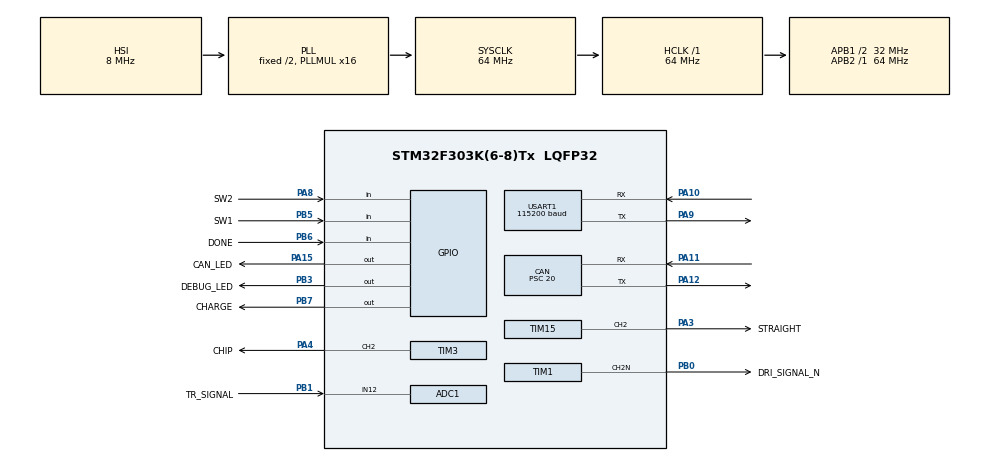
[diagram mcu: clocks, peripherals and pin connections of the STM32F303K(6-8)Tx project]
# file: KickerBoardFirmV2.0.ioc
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ADC1.Channel-1\#ChannelRegularConversion=ADC_CHANNEL_12
ADC1.NbrOfConversionFlag=1
ADC1.Offset-1\#ChannelRegularConversion=0
ADC1.OffsetNumber-1\#ChannelRegularConversion=ADC_OFFSET_NONE
ADC1.Rank-1\#ChannelRegularConversion=1
ADC1.SamplingTime-1\#ChannelRegularConversion=ADC_SAMPLETIME_19CYCLES_5
ADC1.SamplingTimeOPAMP-1\#ChannelRegularConversion=ADC_SAMPLETIME_61CYCLES_5
ADC1.SubFamily=STM32F303x8
ADC1.master=1
CAN.BS1=CAN_BS1_13TQ
CAN.BS2=CAN_BS2_2TQ
CAN.CalculateBaudRate=100000
CAN.CalculateTimeBit=10000
CAN.CalculateTimeQuantum=625.0
CAN.Prescaler=20
Dma.Request0=USART1_TX
Dma.Request1=USART1_RX
Dma.USART1_RX.1.Direction=DMA_PERIPH_TO_MEMORY
Dma.USART1_RX.1.Instance=DMA1_Channel5
Dma.USART1_RX.1.MemDataAlignment=DMA_MDATAALIGN_BYTE
Dma.USART1_RX.1.MemInc=DMA_MINC_ENABLE
Dma.USART1_RX.1.Mode=DMA_CIRCULAR
Dma.USART1_RX.1.PeriphDataAlignment=DMA_PDATAALIGN_BYTE
Dma.USART1_RX.1.PeriphInc=DMA_PINC_DISABLE
Dma.USART1_RX.1.Priority=DMA_PRIORITY_LOW
Dma.USART1_TX.0.Direction=DMA_MEMORY_TO_PERIPH
Dma.USART1_TX.0.Instance=DMA1_Channel4
Dma.USART1_TX.0.MemDataAlignment=DMA_MDATAALIGN_BYTE
Dma.USART1_TX.0.MemInc=DMA_MINC_ENABLE
Dma.USART1_TX.0.Mode=DMA_NORMAL
Dma.USART1_TX.0.PeriphDataAlignment=DMA_PDATAALIGN_BYTE
Dma.USART1_TX.0.PeriphInc=DMA_PINC_DISABLE
Dma.USART1_TX.0.Priority=DMA_PRIORITY_LOW
Mcu.Family=STM32F3
Mcu.Name=STM32F303K(6-8)Tx
Mcu.Package=LQFP32
NVIC.CAN_RX0_IRQn=true\:0\:0\:false\:false\:true\:true\:true\:true
NVIC.CAN_RX1_IRQn=true\:0\:0\:false\:false\:true\:true\:true\:true
NVIC.CAN_TX_IRQn=true\:0\:0\:false\:false\:true\:true\:true\:true
NVIC.DMA1_Channel4_IRQn=true\:0\:0\:false\:false\:true\:false\:true\:true
NVIC.DMA1_Channel5_IRQn=true\:0\:0\:false\:false\:true\:false\:true\:true
NVIC.PriorityGroup=NVIC_PRIORITYGROUP_4
NVIC.TIM3_IRQn=true\:0\:0\:false\:false\:true\:true\:true\:true
NVIC.USART1_IRQn=true\:0\:0\:false\:false\:true\:true\:true\:true
PA10.Mode=Asynchronous
PA10.Signal=USART1_RX
PA11.Mode=CAN_Activate
PA11.Signal=CAN_RX
PA12.Mode=CAN_Activate
PA12.Signal=CAN_TX
PA13.GPIO_Label=SWDIO
PA13.Mode=Serial_Wire
PA13.Signal=SYS_JTMS-SWDIO
PA14.GPIO_Label=SWCLK
PA14.Mode=Serial_Wire
PA14.Signal=SYS_JTCK-SWCLK
PA15.GPIO_Label=CAN_LED
PA15.Signal=GPIO_Output
PA3.GPIO_Label=STRAIGHT
PA3.Signal=S_TIM15_CH2
PA4.GPIO_Label=CHIP
PA4.Signal=S_TIM3_CH2
PA8.GPIO_Label=SW2
PA8.Signal=GPIO_Input
PA9.Mode=Asynchronous
PA9.Signal=USART1_TX
PB0.GPIO_Label=DRI_SIGNAL_N
PB0.Mode=PWM Generation2 CH2N
PB0.Signal=TIM1_CH2N
PB1.GPIO_Label=TR_SIGNAL
PB1.Mode=IN12-Single-Ended
PB1.Signal=ADC1_IN12
PB3.GPIO_Label=DEBUG_LED
PB3.Signal=GPIO_Output
PB5.GPIO_Label=SW1
PB5.Signal=GPIO_Input
PB6.GPIO_Label=DONE
PB6.Signal=GPIO_Input
PB7.GPIO_Label=CHARGE
PB7.Signal=GPIO_Output
ProjectManager.HeapSize=0x200
ProjectManager.StackSize=0x400
ProjectManager.TargetToolchain=Makefile
RCC.AHBFreq_Value=64000000
RCC.APB1CLKDivider=RCC_HCLK_DIV2
RCC.APB1Freq_Value=32000000
RCC.APB1TimFreq_Value=64000000
RCC.APB2Freq_Value=64000000
RCC.APB2TimFreq_Value=64000000
RCC.CortexFreq_Value=64000000
RCC.HCLKFreq_Value=64000000
RCC.HSE_VALUE=8000000
RCC.HSI_VALUE=8000000
RCC.PLLMUL=RCC_PLL_MUL16
RCC.SYSCLKFreq_VALUE=64000000
RCC.SYSCLKSourceVirtual=RCC_SYSCLKSOURCE_PLLCLK
SH.S_TIM15_CH2.0=TIM15_CH2,PWM Generation2 CH2
SH.S_TIM3_CH2.0=TIM3_CH2,PWM Generation2 CH2
TIM1.Channel-PWM\ Generation2\ CH2N=TIM_CHANNEL_2
TIM1.Period=999
TIM1.Prescaler=1279
TIM15.Channel-PWM\ Generation2\ CH2=TIM_CHANNEL_2
TIM15.Period=999
TIM15.Prescaler=127
TIM3.Channel-PWM\ Generation2\ CH2=TIM_CHANNEL_2
TIM3.Period=999
TIM3.Prescaler=127
TIM6.Period=100
TIM6.Prescaler=64000
USART1.BaudRate=115200
USART1.VirtualMode-Asynchronous=VM_ASYNC
VP_TIM6_VS_ClockSourceINT.Mode=Enable_Timer
VP_TIM7_VS_ClockSourceINT.Mode=Enable_Timer
board=NUCLEO-F303K8

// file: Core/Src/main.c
/* USER CODE BEGIN Header */
/**
 ******************************************************************************
 * @file           : main.c
 * @brief          : Main program body
 ******************************************************************************
 * @attention
 *
 * Copyright (c) 2024 STMicroelectronics.
 * All rights reserved.
 *
 * This software is licensed under terms that can be found in the LICENSE file
 * in the root directory of this software component.
 * If no LICENSE file comes with this software, it is provided AS-IS.
 *
 ******************************************************************************
 */
/* USER CODE END Header */
#include "main.h"
#include "adc.h"
#include "can.h"
#include "dma.h"
#include "tim.h"
#include "usart.h"
#include "gpio.h"

/* USER CODE BEGIN Includes */
#include "app.h"
/* USER CODE END Includes */

void SystemClock_Config(void);

/* USER CODE BEGIN 0 */
int _write(int file, char *ptr, int len) {
    // HAL_UART_Transmit(&huart2, (uint8_t *)ptr, len, 10);
    HAL_UART_Transmit(&huart1, (uint8_t *)ptr, len, 10);
    return len;
}

void __io_putchar(uint8_t ch) {
    // HAL_UART_Transmit(&huart1, &ch, 1, 0xFFFFFFFF);
    HAL_UART_Transmit(&huart1, &ch, 1, 0xFFFFFFFF);
}

int __io_getchar(void) {
    uint8_t rxBuf;
    while (HAL_UART_Receive(&huart1, &rxBuf, 1, 0xFFFFFFFF) != HAL_OK)
        ;
    return (rxBuf);
}

void HAL_TIM_PeriodElapsedCallback(TIM_HandleTypeDef *htim) {
    if (htim == &htim3) {
        // 500Hz
        TimInterrupt500hz();
    }
}
/* USER CODE END 0 */

int main(void)
{

  /* MCU Configuration--------------------------------------------------------*/

  /* Reset of all peripherals, Initializes the Flash interface and the Systick. */
  HAL_Init();

  /* Configure the system clock */
  SystemClock_Config();

  /* Initialize all configured peripherals */
  MX_GPIO_Init();
  MX_DMA_Init();
  MX_ADC1_Init();
  MX_CAN_Init();
  MX_TIM1_Init();
  MX_TIM15_Init();
  MX_USART1_UART_Init();
  MX_TIM6_Init();
  MX_TIM3_Init();
  MX_TIM7_Init();
  /* USER CODE BEGIN 2 */
    HAL_TIM_Base_Start_IT(&htim3);
  /* USER CODE END 2 */

  /* Infinite loop */
  /* USER CODE BEGIN WHILE */
    main_app();
    while (1) {
    /* USER CODE END WHILE */

    }
}

void SystemClock_Config(void)
{
  RCC_OscInitTypeDef RCC_OscInitStruct = {0};
  RCC_ClkInitTypeDef RCC_ClkInitStruct = {0};
  RCC_PeriphCLKInitTypeDef PeriphClkInit = {0};

  /** Initializes the RCC Oscillators according to the specified parameters
  * in the RCC_OscInitTypeDef structure.
  */
  RCC_OscInitStruct.OscillatorType = RCC_OSCILLATORTYPE_HSI;
  RCC_OscInitStruct.HSIState = RCC_HSI_ON;
  RCC_OscInitStruct.HSICalibrationValue = RCC_HSICALIBRATION_DEFAULT;
  RCC_OscInitStruct.PLL.PLLState = RCC_PLL_ON;
  RCC_OscInitStruct.PLL.PLLSource = RCC_PLLSOURCE_HSI;
  RCC_OscInitStruct.PLL.PLLMUL = RCC_PLL_MUL16;
  if (HAL_RCC_OscConfig(&RCC_OscInitStruct) != HAL_OK)
  {
    Error_Handler();
  }

  /** Initializes the CPU, AHB and APB buses clocks
  */
  RCC_ClkInitStruct.ClockType = RCC_CLOCKTYPE_HCLK|RCC_CLOCKTYPE_SYSCLK
                              |RCC_CLOCKTYPE_PCLK1|RCC_CLOCKTYPE_PCLK2;
  RCC_ClkInitStruct.SYSCLKSource = RCC_SYSCLKSOURCE_PLLCLK;
  RCC_ClkInitStruct.AHBCLKDivider = RCC_SYSCLK_DIV1;
  RCC_ClkInitStruct.APB1CLKDivider = RCC_HCLK_DIV2;
  RCC_ClkInitStruct.APB2CLKDivider = RCC_HCLK_DIV1;

  if (HAL_RCC_ClockConfig(&RCC_ClkInitStruct, FLASH_LATENCY_2) != HAL_OK)
  {
    Error_Handler();
  }
  PeriphClkInit.PeriphClockSelection = RCC_PERIPHCLK_USART1|RCC_PERIPHCLK_TIM1
                              |RCC_PERIPHCLK_ADC12;
  PeriphClkInit.Usart1ClockSelection = RCC_USART1CLKSOURCE_PCLK1;
  PeriphClkInit.Adc12ClockSelection = RCC_ADC12PLLCLK_DIV1;
  PeriphClkInit.Tim1ClockSelection = RCC_TIM1CLK_HCLK;
  if (HAL_RCCEx_PeriphCLKConfig(&PeriphClkInit) != HAL_OK)
  {
    Error_Handler();
  }
}

void Error_Handler(void)
{
    __disable_irq();
    while (1) {
    }
}
